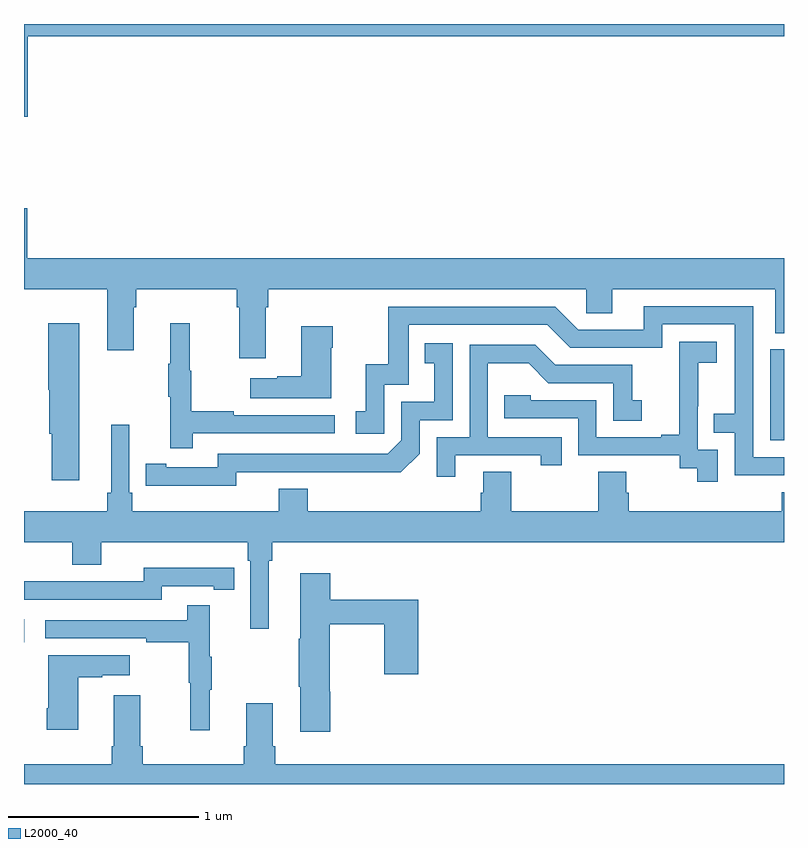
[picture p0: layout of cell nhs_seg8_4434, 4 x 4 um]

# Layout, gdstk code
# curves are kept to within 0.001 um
import gdstk
lib = gdstk.Library(unit=1e-6, precision=1e-09)
def R(c, l, rs):  # rectangles x0, y0, x1, y1
    for r in rs: c.add(gdstk.rectangle(r[:2], r[2:], *l))
def P(c, l, *ps):  # polygons
    for p in ps: c.add(gdstk.Polygon(p, *l))
L2000_40 = (2000, 40)

nhs_seg8_4434 = lib.new_cell('nhs_seg8_4434')
R(nhs_seg8_4434, L2000_40, [(381,1110.645,381.001,1110.766), (384.927,1111.71,385,1112.187)])
P(nhs_seg8_4434, L2000_40, [(381.02,1113.836),(385,1113.836),(385,1113.9),(381,1113.9),(381,1113.411),(381.02,1113.411)],
  [(382.273,1112.408),(382.286,1112.408),(382.286,1112.504),(383.958,1112.504),(383.958,1112.377),(384.097,1112.377),(384.097,1112.504),(384.953,1112.504),(384.953,1112.272),(385,1112.272),(385,1112.668),(381.017,1112.668),(381.017,1112.929),(381,1112.929),(381,1112.504),(381.437,1112.504),(381.437,1112.184),(381.577,1112.184),(381.577,1112.408),(381.59,1112.408),(381.59,1112.504),(382.121,1112.504),(382.121,1112.408),(382.133,1112.408),(382.133,1112.142),(382.273,1112.142)],
  [(385,1111.62),(384.837,1111.62),(384.837,1112.415),(384.263,1112.415),(384.263,1112.292),(383.916,1112.292),(383.796,1112.412),(382.917,1112.412),(382.917,1112.11),(382.799,1112.11),(382.799,1111.863),(382.746,1111.863),(382.746,1111.743),(382.896,1111.743),(382.896,1112.001),(383.025,1112.001),(383.025,1112.316),(383.754,1112.316),(383.874,1112.196),(384.36,1112.196),(384.36,1112.319),(384.741,1112.319),(384.741,1111.85),(384.631,1111.85),(384.631,1111.749),(384.741,1111.749),(384.741,1111.524),(385,1111.524)],
  [(381.292,1112.326),(381.128,1112.326),(381.128,1111.974),(381.134,1111.974),(381.134,1111.743),(381.146,1111.743),(381.146,1111.5),(381.292,1111.5)],
  [(381.887,1111.746),(382.636,1111.746),(382.636,1111.842),(382.103,1111.842),(382.103,1111.862),(381.88,1111.862),(381.88,1112.076),(381.872,1112.076),(381.872,1112.326),(381.77,1112.326),(381.77,1112.113),(381.759,1112.113),(381.759,1111.939),(381.77,1111.939),(381.77,1111.668),(381.887,1111.668)],
  [(382.618,1112.195),(382.626,1112.195),(382.626,1112.308),(382.46,1112.308),(382.46,1112.045),(382.334,1112.045),(382.334,1112.035),(382.191,1112.035),(382.191,1111.931),(382.618,1111.931)],
  [(384.651,1111.659),(384.546,1111.659),(384.546,1111.889),(384.548,1111.889),(384.548,1112.117),(384.646,1112.117),(384.646,1112.227),(384.448,1112.227),(384.448,1112.021),(384.449,1112.021),(384.449,1111.738),(384.353,1111.738),(384.353,1111.725),(384.012,1111.725),(384.012,1111.92),(383.667,1111.92),(383.667,1111.947),(383.527,1111.947),(383.527,1111.824),(383.916,1111.824),(383.916,1111.629),(384.45,1111.629),(384.45,1111.561),(384.543,1111.561),(384.543,1111.491),(384.651,1111.491)],
  [(382.116,1111.542),(382.984,1111.541),(383.082,1111.638),(383.082,1111.815),(383.256,1111.815),(383.256,1112.221),(383.11,1112.221),(383.11,1112.115),(383.159,1112.115),(383.159,1111.911),(382.986,1111.911),(382.986,1111.71),(382.914,1111.638),(382.02,1111.638),(382.02,1111.566),(381.748,1111.566),(381.748,1111.586),(381.64,1111.586),(381.64,1111.47),(382.116,1111.469)],
  [(383.269,1111.629),(383.72,1111.629),(383.72,1111.578),(383.831,1111.578),(383.831,1111.725),(383.442,1111.725),(383.442,1112.114),(383.656,1112.114),(383.76,1112.01),(384.102,1112.01),(384.102,1111.812),(384.25,1111.812),(384.25,1111.921),(384.201,1111.921),(384.201,1112.106),(383.797,1112.106),(383.692,1112.211),(383.346,1112.211),(383.346,1111.725),(383.172,1111.725),(383.172,1111.518),(383.269,1111.518)],
  [(382.288,1111.076),(382.307,1111.076),(382.307,1111.172),(385,1111.172),(385,1111.435),(384.989,1111.435),(384.989,1111.336),(384.182,1111.336),(384.182,1111.434),(384.169,1111.434),(384.169,1111.544),(384.022,1111.544),(384.022,1111.336),(383.565,1111.336),(383.565,1111.544),(383.417,1111.544),(383.417,1111.434),(383.405,1111.434),(383.405,1111.336),(382.493,1111.336),(382.493,1111.453),(382.34,1111.453),(382.34,1111.336),(381.569,1111.336),(381.569,1111.432),(381.555,1111.432),(381.555,1111.792),(381.458,1111.792),(381.458,1111.432),(381.439,1111.432),(381.439,1111.336),(381,1111.336),(381,1111.172),(381.254,1111.172),(381.254,1111.055),(381.406,1111.055),(381.406,1111.172),(382.178,1111.172),(382.178,1111.076),(382.191,1111.076),(382.191,1110.717),(382.288,1110.717)],
  [(381.726,1110.942),(381.998,1110.942),(381.998,1110.922),(382.106,1110.922),(382.106,1111.038),(381.998,1111.038),(381.998,1111.039),(381.63,1111.039),(381.63,1110.966),(381.17,1110.966),(381.17,1110.968),(381,1110.968),(381,1110.87),(381.726,1110.87)],
  [(382.613,1110.386),(382.608,1110.386),(382.608,1110.742),(382.897,1110.742),(382.897,1110.477),(383.075,1110.477),(383.075,1110.871),(382.613,1110.871),(382.613,1111.009),(382.454,1111.009),(382.454,1110.665),(382.447,1110.665),(382.447,1110.412),(382.454,1110.412),(382.454,1110.174),(382.613,1110.174)],
  [(381.977,1110.395),(381.988,1110.395),(381.988,1110.569),(381.977,1110.569),(381.977,1110.841),(381.859,1110.841),(381.859,1110.762),(381.111,1110.762),(381.111,1110.666),(381.643,1110.666),(381.643,1110.646),(381.867,1110.646),(381.867,1110.432),(381.874,1110.432),(381.874,1110.183),(381.977,1110.183)],
  [(381.286,1110.463),(381.413,1110.463),(381.413,1110.473),(381.556,1110.473),(381.556,1110.577),(381.128,1110.577),(381.128,1110.298),(381.121,1110.298),(381.121,1110.186),(381.286,1110.186)],
  [(385,1110.004),(382.322,1110.004),(382.322,1110.1),(382.309,1110.1),(382.309,1110.325),(382.169,1110.325),(382.169,1110.1),(382.157,1110.1),(382.157,1110.004),(381.626,1110.004),(381.626,1110.1),(381.613,1110.1),(381.613,1110.367),(381.473,1110.367),(381.473,1110.1),(381.461,1110.1),(381.461,1110.004),(381,1110.004),(381,1109.9),(385,1109.9)])

lib.write_gds('nhs_seg8_4434.gds')
